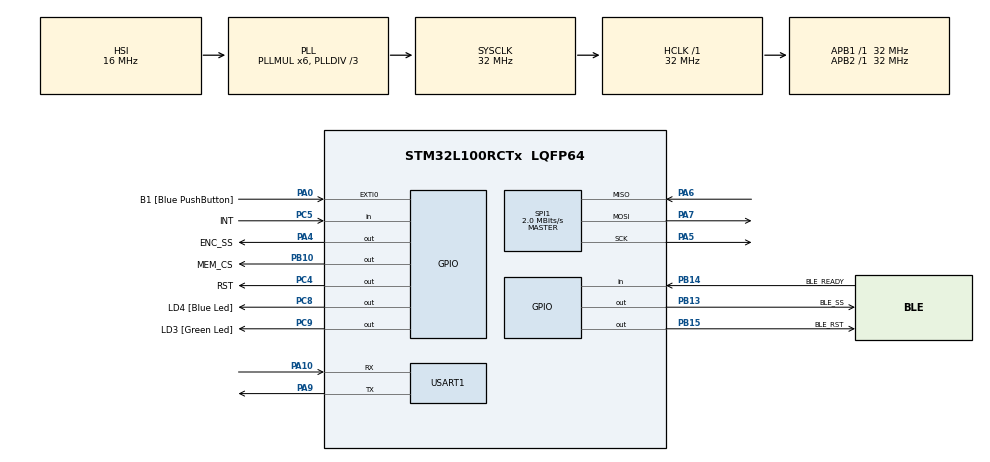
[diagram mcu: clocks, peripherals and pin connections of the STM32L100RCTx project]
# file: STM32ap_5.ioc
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Mcu.Family=STM32L1
Mcu.Name=STM32L100RCTx
Mcu.Package=LQFP64
NVIC.PriorityGroup=NVIC_PRIORITYGROUP_0
NVIC.TIM2_IRQn=true\:0\:0\:false\:false\:true\:true\:true
NVIC.TIM6_IRQn=true\:0\:0\:false\:false\:true\:true\:true
PA0-WKUP1.GPIO_Label=B1 [Blue PushButton]
PA0-WKUP1.GPIO_ModeDefaultEXTI=GPIO_MODE_EVT_RISING
PA0-WKUP1.Signal=GPXTI0
PA10.Mode=Asynchronous
PA10.Signal=USART1_RX
PA13.GPIO_Label=SWDIO
PA13.Mode=Serial_Wire
PA13.Signal=SYS_JTMS-SWDIO
PA14.GPIO_Label=SWCLK
PA14.Mode=Serial_Wire
PA14.Signal=SYS_JTCK-SWCLK
PA4.GPIO_Label=ENC_SS
PA4.Signal=GPIO_Output
PA5.Mode=Full_Duplex_Master
PA5.Signal=SPI1_SCK
PA6.Mode=Full_Duplex_Master
PA6.Signal=SPI1_MISO
PA7.Mode=Full_Duplex_Master
PA7.Signal=SPI1_MOSI
PA9.Mode=Asynchronous
PA9.Signal=USART1_TX
PB10.GPIO_Label=MEM_CS
PB10.Signal=GPIO_Output
PB13.GPIO_Label=BLE_SS
PB13.Signal=GPIO_Output
PB14.GPIO_Label=BLE_READY
PB14.Signal=GPIO_Input
PB15.GPIO_Label=BLE_RST
PB15.Signal=GPIO_Output
PB3.GPIO_Label=SWO
PB3.Signal=SYS_JTDO-TRACESWO
PC14-OSC32_IN.GPIO_Label=PC14-OSC32_IN
PC14-OSC32_IN.Signal=RCC_OSC32_IN
PC15-OSC32_OUT.GPIO_Label=PC15-OSC32_OUT
PC15-OSC32_OUT.Signal=RCC_OSC32_OUT
PC4.GPIO_Label=RST
PC4.Signal=GPIO_Output
PC5.GPIO_Label=INT
PC5.Signal=GPIO_Input
PC8.GPIO_Label=LD4 [Blue Led]
PC8.Signal=GPIO_Output
PC9.GPIO_Label=LD3 [Green Led]
PC9.Signal=GPIO_Output
PH0-OSC_IN.GPIO_Label=PH0-OSC_IN
PH0-OSC_IN.Mode=HSE-External-Clock-Source
PH0-OSC_IN.Signal=RCC_OSC_IN
PH1-OSC_OUT.GPIO_Label=PH1-OSC_OUT
PH1-OSC_OUT.Signal=RCC_OSC_OUT
ProjectManager.HeapSize=0x200
ProjectManager.StackSize=0x400
ProjectManager.TargetToolchain=Makefile
RCC.48MHZClocksFreq_Value=48000000
RCC.AHBFreq_Value=32000000
RCC.APB1Freq_Value=32000000
RCC.APB1TimFreq_Value=32000000
RCC.APB2Freq_Value=32000000
RCC.APB2TimFreq_Value=32000000
RCC.HCLKFreq_Value=32000000
RCC.HSE_VALUE=8000000
RCC.HSI_VALUE=16000000
RCC.LSEState=RCC_LSE_ON
RCC.LSE_VALUE=32768
RCC.MSI_VALUE=2097000
RCC.PLLDIV=RCC_PLL_DIV3
RCC.PLLMUL=RCC_PLL_MUL6
RCC.RTCClockSelectionVirtual=RCC_RTCCLKSOURCE_LSE
RCC.SYSCLKFreq_VALUE=32000000
RCC.SYSCLKSource=RCC_SYSCLKSOURCE_PLLCLK
RCC.USBOutput=48000000
RCC.VCOOutputFreq_Value=96000000
SPI1.BaudRatePrescaler=SPI_BAUDRATEPRESCALER_16
SPI1.CalculateBaudRate=2.0 MBits/s
SPI1.Direction=SPI_DIRECTION_2LINES
SPI1.Mode=SPI_MODE_MASTER
SPI1.VirtualType=VM_MASTER
TIM2.Period=32000-1
TIM2.Prescaler=1000-1
TIM6.Period=1000-1
TIM6.Prescaler=32-1
USART1.VirtualMode=VM_ASYNC
VP_TIM2_VS_ClockSourceINT.Mode=Internal
VP_TIM6_VS_ClockSourceINT.Mode=Enable_Timer
board=STM32L100C-DISCO

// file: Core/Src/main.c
/* USER CODE BEGIN Header */
/**
  ******************************************************************************
  * @file           : main.c
  * @brief          : Main program body
  ******************************************************************************
  * @attention
  *
  * <h2><center>&copy; Copyright (c) 2021 STMicroelectronics.
  * All rights reserved.</center></h2>
  *
  * This software component is licensed by ST under BSD 3-Clause license,
  * the "License"; You may not use this file except in compliance with the
  * License. You may obtain a copy of the License at:
  *                        opensource.org/licenses/BSD-3-Clause
  *
  ******************************************************************************
  */
/* USER CODE END Header */
#include "main.h"

/* USER CODE BEGIN Includes */
#include "Internet.h"
#include "AttenderAPI.h"
#include "Coder.h"
#include "cJSON.h"
#include "memory.h"
/* USER CODE END Includes */

/* USER CODE BEGIN PTD */

// first settings
Date nowDate;
cJSON* saveDataJSON;
SavedData saveData;

const char * jsonstr =
  "{"
  "\"apcode\": 1,"
  "\"apip\": \"192.168.0.146\","
  "\"domain\": \"http://www.eduwon.net:8807\","
  "\"netmask\": \"255.255.255.0\","
  "\"gwip\": \"192.168.0.1\","
  "\"dnsip\": \"168.126.63.1\","
  "\"dns2ip\": \"0.0.0.0\","
  "\"useyn\": true,"
  "\"dist\": 8.3,"
  "\"idxClient\": 1000,"
  "\"isDHCP\": true,"
  "\"IdentifyDistance\": 100,"
  "\"BeaconTimeout\": 20,"
  "\"ServerURL\": \"/api/sio/\","
  "\"dbuglog\": false,"
  "\"reset\": -1,"
  "\"enableOutDetecting\": 0,"
  "\"ipcdInterval\": 600,"
  "\"date\": \"20210605172213\","
  "\"pgver\": \"v.kr.0.1\","
  "\"pgverdate\": \"20210605100630\","
  "\"CDMURL\": \"/api/cdm/\""
  "}";

SensorList sensorlist[SENSORLIST_LEN];
/* USER CODE END PTD */

SPI_HandleTypeDef hspi1;

TIM_HandleTypeDef htim2;
TIM_HandleTypeDef htim6;

UART_HandleTypeDef huart1;

void SystemClock_Config(void);
static void MX_GPIO_Init(void);
static void MX_SPI1_Init(void);
static void MX_USART1_UART_Init(void);
static void MX_TIM2_Init(void);
static void MX_TIM6_Init(void);

/* USER CODE BEGIN 0 */
int _write(int file, char* p, int len)
{
  HAL_UART_Transmit(&huart1,(uint8_t*)p,len,1000);
  return len;
}
int mode = 0;
uint32_t rando()
{
  int t = HAL_GetTick();
  return ((t&0x00FF)<<16 | (t&0xFF00)>>16) * ((t&0x0F)<<8 | (t&0xF0)>>8) - t;
}
/* USER CODE END 0 */

int main(void)
{

  /* MCU Configuration--------------------------------------------------------*/

  /* Reset of all peripherals, Initializes the Flash interface and the Systick. */
  HAL_Init();

  /* Configure the system clock */
  SystemClock_Config();

  /* USER CODE BEGIN SysInit */
  calibrate();
  Addstr_SystemInitalize();
  /* USER CODE END SysInit */

  /* Initialize all configured peripherals */
  MX_GPIO_Init();
  MX_SPI1_Init();
  MX_USART1_UART_Init();
  MX_TIM2_Init();
  MX_TIM6_Init();
  /* USER CODE BEGIN 2 */

  extern BOOL isOnline;
  isOnline = -2;

  HAL_GPIO_WritePin(MEM_CS_GPIO_Port,MEM_CS_Pin,GPIO_PIN_SET);
  HAL_GPIO_WritePin(BLE_SS_GPIO_Port,BLE_SS_Pin,GPIO_PIN_SET);
  HAL_GPIO_WritePin(ENC_SS_GPIO_Port,ENC_SS_Pin,GPIO_PIN_SET);
  HAL_GPIO_WritePin(BLE_RST_GPIO_Port,BLE_RST_Pin,GPIO_PIN_RESET);
  HAL_Delay(50);
  HAL_GPIO_WritePin(BLE_RST_GPIO_Port,BLE_RST_Pin,GPIO_PIN_SET);

  Debug("start!\n");

  memset(sensorlist,0,sizeof(sensorlist));

  MEM_INIT();

  // cJSON *json = cJSON_Parse(jsonstr);
  // Store_SaveData(json);
  // cJSON_Delete(json);

  if(MEM_Read_SaveData()==FAILED)
  {
    printf("important!! Reading Configuration failed.\n");
    while(1)
    {
      HAL_GPIO_WritePin(GPIOC,GPIO_PIN_9,GPIO_PIN_SET);
      HAL_GPIO_WritePin(GPIOC,GPIO_PIN_8,GPIO_PIN_SET);
      HAL_Delay(500);

      HAL_GPIO_WritePin(GPIOC,GPIO_PIN_9,GPIO_PIN_RESET);
      HAL_GPIO_WritePin(GPIOC,GPIO_PIN_8,GPIO_PIN_RESET);
      HAL_Delay(500);
    }
  }

  //MEM_Store_SaveData();

  char* str = cJSON_Print(saveDataJSON);
  printf("savedData : %s\n",str);
  free(str);

  HAL_TIM_Base_Start_IT(&htim6);
  HAL_TIM_Base_Start_IT(&htim2);

  MAC_ADDR myMAC = MACSet(0x12,0x23,0x34,0x45,0x56,0x67);

  //if it is blocked here, Please make SPI lines stablized. It may stuck during the SPI progress.
  if(saveData.isDHCP)printf("Starting DHCP...\n");
  EC_Init(saveData.apip,saveData.netmask,saveData.gwip,myMAC,saveData.isDHCP);
  //EC_Init(IPSet(192,168,0,28),IPSet(255,255,255,255),IPSet(192,168,0,1),myMAC,0);

  int ipcdTimer = HAL_GetTick() - saveData.ipcdInterval*1000;

  /* USER CODE END 2 */

  /* Infinite loop */
  /* USER CODE BEGIN WHILE */
  while (1)
  {
    //connecting process..
    Debug("connecting line...\n");

    uint32_t start = HAL_GetTick();
    while((HAL_GetTick()-start < 1000) && !(nic_is_linked))yield();
    if(!nic_is_linked)
    {
      Debug("nic is NOT linked...\n");
      nic_initialise(NIC_INIT_SPEED);
      Debug("nic was initalized.\n");
      continue;
    }
    else Debug("nic is linked!...\n");

    while((HAL_GetTick()-start < 30000) && !(nic_linked_and_ip_address_valid))yield();
    if(!nic_linked_and_ip_address_valid)
         Debug("Obtaining IP failed...\n");
    else Debug("It's online!\n");
    checkConnectivity(TRUE);

    if(isOnline == 0)continue;//retry internet.

    //echo test + Updating Date
    Result echo_res;
    for(int i=0;i<4;i++)
    {
      echo_res = API_Echo();
      if(echo_res == SUCCEED)break;
    }
    if(echo_res != SUCCEED)nic_initialise(NIC_INIT_SPEED);

    Debug("system start!\n");
    while (1)
    {
      if(isOnline == 0)break;//retry internet.

      //READ the Pin_READY. (0:waiting 1:free)
      if(HAL_GPIO_ReadPin(BLE_READY_GPIO_Port,BLE_READY_Pin) == GPIO_PIN_RESET)
      {
        uint8_t txbuffer[8] = "this.TX";
        BLEInfo rxbuffer[1] = {0,};

        HAL_GPIO_WritePin(BLE_SS_GPIO_Port,BLE_SS_Pin,GPIO_PIN_RESET);
        HAL_SPI_Receive(&hspi1, rxbuffer, sizeof(rxbuffer), 1000);
        HAL_GPIO_WritePin(BLE_SS_GPIO_Port,BLE_SS_Pin,GPIO_PIN_SET);
        if(rxbuffer[0].AESData[0] != 0 && rxbuffer[0].AESData[1] != 0xFF)
        {
          //Debug("LE%d(%d)\n",rxbuffer[0].AESNo,rxbuffer[0].rssi);

          // Debug("AESNo : %d\3",rxbuffer[0].AESNo);
          // Debug("rssi  : %d\3",rxbuffer[0].rssi);
          // Debug("txPWR : %d\3",rxbuffer[0].txPower);

          // Debug("SPI SEND : %s\3",txbuffer);
          // uint8_t* pointer = rxbuffer;
          // Debug("{%02X %02X %02X %02X %02X %02X %02X %02X}\3"
          //   ,pointer[0],pointer[1],pointer[2],pointer[3]
          //   ,pointer[4],pointer[5],pointer[6],pointer[7]);
          SensorData sensor;
          Result res = BLEList_ProcessSensor(rxbuffer,&sensor);
          //Debug("BLEList_ProcessSensor %s \n",(res==SUCCEED?"Succeed":"failed"));
          if(res==FAILED)checkConnectivity(TRUE);
          else
          {
            int i=0;
            BOOL isinRange = sensor.distance < saveData.IdentifyDistance;
            //search
            for(i=0;i<SENSORLIST_LEN;i++)
            {
              if(sensorlist[i].idxUser==sensor.idxUser)break;
            }
            if(i<SENSORLIST_LEN);//if found
            else //unless found
            {
              for(i=0;i<SENSORLIST_LEN;i++)
              {
                if(sensorlist[i].isAlive == FALSE)break;
              }
              if(i>=SENSORLIST_LEN)printf("ERROR! sensorLIST FULL\n");

              sensorlist[i].ioState = 1;//OUT
            }
            //printf("device %d\n",i);
            sensorlist[i].idxUser = sensor.idxUser;
            sensorlist[i].isAlive = isinRange;
            sensorlist[i].beginTime = HAL_GetTick();
            sensorlist[i].distance = sensor.distance;
            sensorlist[i].hackingCode = sensor.HackingCode;

            //investigate if It's entering range(0,saveData.dist)&&iostate:out
            if(sensorlist[i].ioState == 1 && sensorlist[i].distance < saveData.dist)
            {
              printf("NEW Sensor entered!\n");
              Result res = Beacon_SendAPI(sensor);

              Debug("Beacon_SendAPI %s \n",(res==SUCCEED?"Succeed":"failed"));

              sensorlist[i].ioState = 0;//IN
            }

            //then now search if It's exiting range(saveData.dist,INF)&&iostate:in&&saveData.enableOutDetecting==true
            else if(sensorlist[i].ioState == 0 && sensorlist[i].distance >= saveData.dist)
            {
              sensorlist[i].ioState = 1;//OUT
              printf("Sensor %d exited!\n",i);
              if(saveData.enableOutDetecting == TRUE){
                Result res = Beacon_SendAPI(sensor);
                Debug("Beacon_SendAPI %s \n",(res==SUCCEED?"Succeed":"failed"));
              }
            }

            //Beacon_SendAPI(decryptedSensor);
          }
        }
      }
      //else Debug("empty line..\n");

      if(mode == 0)
      {
        mode = 3;
      }
      else if(mode == 2)
      {

      }
      else if(mode == 3 && isOnline)
      {
        //Debug("Send_API_Echo~\n");
        // mode = 1;
        // if(isOnline)
        // if(API_Echo() == FAILED)
        //  checkConnectivity(TRUE);

      }

      //IPCD Timer Trigger
      if(HAL_GetTick() - ipcdTimer > saveData.ipcdInterval*1000)
      {
        ipcdTimer = HAL_GetTick();
        Result res = API_ipcd();
        if(res != SUCCEED)
        {
          printf("IPCD Error\n");
        }
      }

      static int printtimer;
      if(HAL_GetTick() - printtimer > 1000)
      {
        printtimer = HAL_GetTick();

        // printf("sensorlist GET\n");
        for(int i=0;i<SENSORLIST_LEN;i++)
        {
          if(sensorlist[i].idxUser == 0)break;

          SensorList *row = &sensorlist[i];
          printf("\n Sensor[%d] : idx:%d %s T:%dms dist:%gm hack:%04d io:%s\n",i,row->idxUser,row->isAlive?"Alive":"Dead",HAL_GetTick() - row->beginTime
            ,row->distance,row->hackingCode,!row->ioState?"in":"out");
        }
      }
    /* USER CODE END WHILE */

    /* USER CODE BEGIN 3 */
      yield();
    }
  }
  /* USER CODE END 3 */
}

void SystemClock_Config(void)
{
  RCC_OscInitTypeDef RCC_OscInitStruct = {0};
  RCC_ClkInitTypeDef RCC_ClkInitStruct = {0};

  /** Configure the main internal regulator output voltage
  */
  __HAL_PWR_VOLTAGESCALING_CONFIG(PWR_REGULATOR_VOLTAGE_SCALE1);
  /** Initializes the RCC Oscillators according to the specified parameters
  * in the RCC_OscInitTypeDef structure.
  */
  RCC_OscInitStruct.OscillatorType = RCC_OSCILLATORTYPE_HSI;
  RCC_OscInitStruct.HSIState = RCC_HSI_ON;
  RCC_OscInitStruct.HSICalibrationValue = RCC_HSICALIBRATION_DEFAULT;
  RCC_OscInitStruct.PLL.PLLState = RCC_PLL_ON;
  RCC_OscInitStruct.PLL.PLLSource = RCC_PLLSOURCE_HSI;
  RCC_OscInitStruct.PLL.PLLMUL = RCC_PLL_MUL6;
  RCC_OscInitStruct.PLL.PLLDIV = RCC_PLL_DIV3;
  if (HAL_RCC_OscConfig(&RCC_OscInitStruct) != HAL_OK)
  {
    Error_Handler();
  }
  /** Initializes the CPU, AHB and APB buses clocks
  */
  RCC_ClkInitStruct.ClockType = RCC_CLOCKTYPE_HCLK|RCC_CLOCKTYPE_SYSCLK
                              |RCC_CLOCKTYPE_PCLK1|RCC_CLOCKTYPE_PCLK2;
  RCC_ClkInitStruct.SYSCLKSource = RCC_SYSCLKSOURCE_PLLCLK;
  RCC_ClkInitStruct.AHBCLKDivider = RCC_SYSCLK_DIV1;
  RCC_ClkInitStruct.APB1CLKDivider = RCC_HCLK_DIV1;
  RCC_ClkInitStruct.APB2CLKDivider = RCC_HCLK_DIV1;

  if (HAL_RCC_ClockConfig(&RCC_ClkInitStruct, FLASH_LATENCY_1) != HAL_OK)
  {
    Error_Handler();
  }
}

static void MX_SPI1_Init(void)
{

  /* SPI1 parameter configuration*/
  hspi1.Instance = SPI1;
  hspi1.Init.Mode = SPI_MODE_MASTER;
  hspi1.Init.Direction = SPI_DIRECTION_2LINES;
  hspi1.Init.DataSize = SPI_DATASIZE_8BIT;
  hspi1.Init.CLKPolarity = SPI_POLARITY_LOW;
  hspi1.Init.CLKPhase = SPI_PHASE_1EDGE;
  hspi1.Init.NSS = SPI_NSS_SOFT;
  hspi1.Init.BaudRatePrescaler = SPI_BAUDRATEPRESCALER_16;
  hspi1.Init.FirstBit = SPI_FIRSTBIT_MSB;
  hspi1.Init.TIMode = SPI_TIMODE_DISABLE;
  hspi1.Init.CRCCalculation = SPI_CRCCALCULATION_DISABLE;
  hspi1.Init.CRCPolynomial = 10;
  if (HAL_SPI_Init(&hspi1) != HAL_OK)
  {
    Error_Handler();
  }

}

static void MX_TIM2_Init(void)
{

  TIM_ClockConfigTypeDef sClockSourceConfig = {0};
  TIM_MasterConfigTypeDef sMasterConfig = {0};

  htim2.Instance = TIM2;
  htim2.Init.Prescaler = 1000-1;
  htim2.Init.CounterMode = TIM_COUNTERMODE_UP;
  htim2.Init.Period = 32000-1;
  htim2.Init.ClockDivision = TIM_CLOCKDIVISION_DIV1;
  htim2.Init.AutoReloadPreload = TIM_AUTORELOAD_PRELOAD_DISABLE;
  if (HAL_TIM_Base_Init(&htim2) != HAL_OK)
  {
    Error_Handler();
  }
  sClockSourceConfig.ClockSource = TIM_CLOCKSOURCE_INTERNAL;
  if (HAL_TIM_ConfigClockSource(&htim2, &sClockSourceConfig) != HAL_OK)
  {
    Error_Handler();
  }
  sMasterConfig.MasterOutputTrigger = TIM_TRGO_RESET;
  sMasterConfig.MasterSlaveMode = TIM_MASTERSLAVEMODE_DISABLE;
  if (HAL_TIMEx_MasterConfigSynchronization(&htim2, &sMasterConfig) != HAL_OK)
  {
    Error_Handler();
  }

}

static void MX_TIM6_Init(void)
{

  TIM_MasterConfigTypeDef sMasterConfig = {0};

  htim6.Instance = TIM6;
  htim6.Init.Prescaler = 32-1;
  htim6.Init.CounterMode = TIM_COUNTERMODE_UP;
  htim6.Init.Period = 1000-1;
  htim6.Init.AutoReloadPreload = TIM_AUTORELOAD_PRELOAD_DISABLE;
  if (HAL_TIM_Base_Init(&htim6) != HAL_OK)
  {
    Error_Handler();
  }
  sMasterConfig.MasterOutputTrigger = TIM_TRGO_RESET;
  sMasterConfig.MasterSlaveMode = TIM_MASTERSLAVEMODE_DISABLE;
  if (HAL_TIMEx_MasterConfigSynchronization(&htim6, &sMasterConfig) != HAL_OK)
  {
    Error_Handler();
  }

}

static void MX_USART1_UART_Init(void)
{

  huart1.Instance = USART1;
  huart1.Init.BaudRate = 115200;
  huart1.Init.WordLength = UART_WORDLENGTH_8B;
  huart1.Init.StopBits = UART_STOPBITS_1;
  huart1.Init.Parity = UART_PARITY_NONE;
  huart1.Init.Mode = UART_MODE_TX_RX;
  huart1.Init.HwFlowCtl = UART_HWCONTROL_NONE;
  huart1.Init.OverSampling = UART_OVERSAMPLING_16;
  if (HAL_UART_Init(&huart1) != HAL_OK)
  {
    Error_Handler();
  }

}

static void MX_GPIO_Init(void)
{
  GPIO_InitTypeDef GPIO_InitStruct = {0};

  /* GPIO Ports Clock Enable */
  __HAL_RCC_GPIOC_CLK_ENABLE();
  __HAL_RCC_GPIOH_CLK_ENABLE();
  __HAL_RCC_GPIOA_CLK_ENABLE();
  __HAL_RCC_GPIOB_CLK_ENABLE();

  /*Configure GPIO pin Output Level */
  HAL_GPIO_WritePin(ENC_SS_GPIO_Port, ENC_SS_Pin, GPIO_PIN_RESET);

  /*Configure GPIO pin Output Level */
  HAL_GPIO_WritePin(GPIOC, RST_Pin|LD4_Pin|LD3_Pin, GPIO_PIN_RESET);

  /*Configure GPIO pin Output Level */
  HAL_GPIO_WritePin(GPIOB, MEM_CS_Pin|BLE_SS_Pin|BLE_RST_Pin, GPIO_PIN_RESET);

  /*Configure GPIO pin : B1_Pin */
  GPIO_InitStruct.Pin = B1_Pin;
  GPIO_InitStruct.Mode = GPIO_MODE_EVT_RISING;
  GPIO_InitStruct.Pull = GPIO_NOPULL;
  HAL_GPIO_Init(B1_GPIO_Port, &GPIO_InitStruct);

  /*Configure GPIO pin : ENC_SS_Pin */
  GPIO_InitStruct.Pin = ENC_SS_Pin;
  GPIO_InitStruct.Mode = GPIO_MODE_OUTPUT_PP;
  GPIO_InitStruct.Pull = GPIO_NOPULL;
  GPIO_InitStruct.Speed = GPIO_SPEED_FREQ_LOW;
  HAL_GPIO_Init(ENC_SS_GPIO_Port, &GPIO_InitStruct);

  /*Configure GPIO pins : RST_Pin LD4_Pin LD3_Pin */
  GPIO_InitStruct.Pin = RST_Pin|LD4_Pin|LD3_Pin;
  GPIO_InitStruct.Mode = GPIO_MODE_OUTPUT_PP;
  GPIO_InitStruct.Pull = GPIO_NOPULL;
  GPIO_InitStruct.Speed = GPIO_SPEED_FREQ_LOW;
  HAL_GPIO_Init(GPIOC, &GPIO_InitStruct);

  /*Configure GPIO pin : INT_Pin */
  GPIO_InitStruct.Pin = INT_Pin;
  GPIO_InitStruct.Mode = GPIO_MODE_INPUT;
  GPIO_InitStruct.Pull = GPIO_NOPULL;
  HAL_GPIO_Init(INT_GPIO_Port, &GPIO_InitStruct);

  /*Configure GPIO pins : MEM_CS_Pin BLE_SS_Pin BLE_RST_Pin */
  GPIO_InitStruct.Pin = MEM_CS_Pin|BLE_SS_Pin|BLE_RST_Pin;
  GPIO_InitStruct.Mode = GPIO_MODE_OUTPUT_PP;
  GPIO_InitStruct.Pull = GPIO_NOPULL;
  GPIO_InitStruct.Speed = GPIO_SPEED_FREQ_LOW;
  HAL_GPIO_Init(GPIOB, &GPIO_InitStruct);

  /*Configure GPIO pin : BLE_READY_Pin */
  GPIO_InitStruct.Pin = BLE_READY_Pin;
  GPIO_InitStruct.Mode = GPIO_MODE_INPUT;
  GPIO_InitStruct.Pull = GPIO_NOPULL;
  HAL_GPIO_Init(BLE_READY_GPIO_Port, &GPIO_InitStruct);

}

void Error_Handler(void)
{
  __disable_irq();
  while (1)
  {
  }
}

/************************ (C) COPYRIGHT STMicroelectronics *****END OF FILE****/
